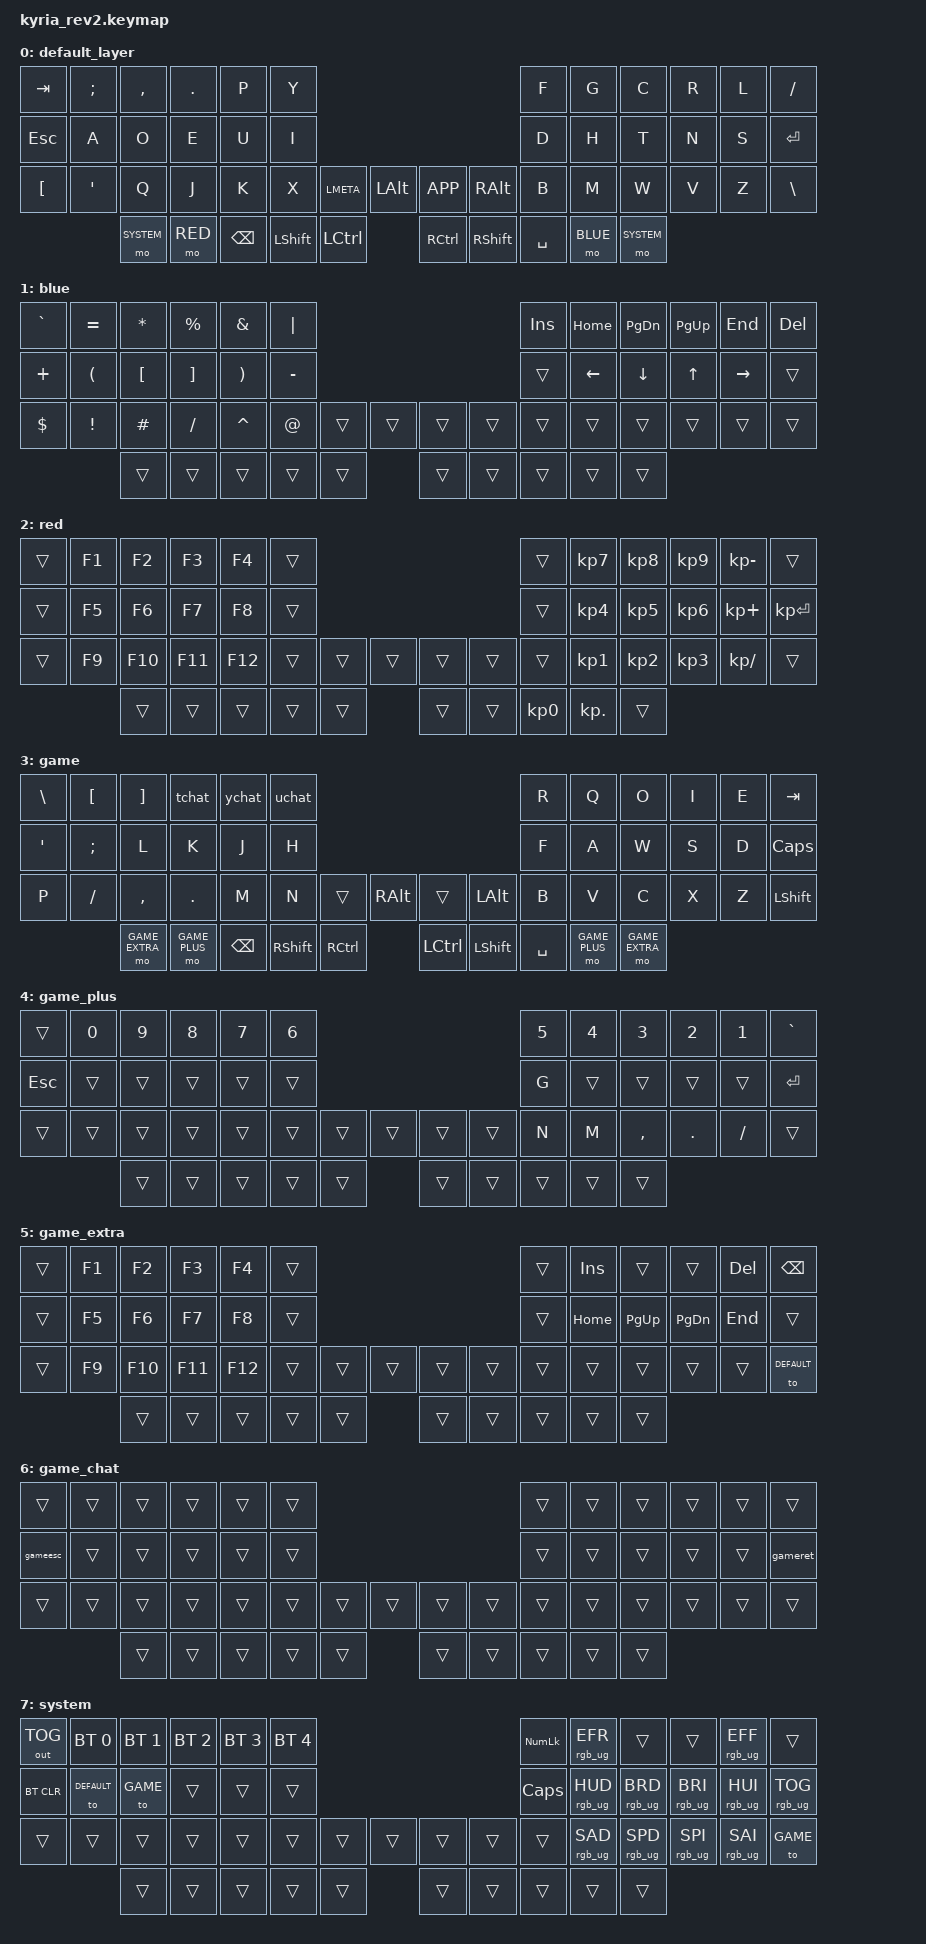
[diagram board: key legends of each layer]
/*
 * Copyright (c) 2020 The ZMK Contributors
 *
 * SPDX-License-Identifier: MIT
 */

#include <behaviors.dtsi>
#include <dt-bindings/zmk/keys.h>
#include <dt-bindings/zmk/outputs.h>
#include <dt-bindings/zmk/bt.h>
#include <dt-bindings/zmk/rgb.h>

#define DEFAULT 0
#define BLUE 1
#define RED 2
#define GAME 3
#define GAME_PLUS 4
#define GAME_EXTRA 5
#define GAME_CHAT 6
#define SYSTEM 7

/ {
	macros {
		tchat: tchat {
			label = "ZM_t_chat";
			compatible = "zmk,behavior-macro";
			#binding-cells = <0>;
			bindings = <&macro_press &to GAME_CHAT &kp T>;
		};

		ychat: ychat {
			label = "ZM_y_chat";
			compatible = "zmk,behavior-macro";
			#binding-cells = <0>;
			bindings = <&macro_press &to GAME_CHAT &kp Y>;
		};

		uchat: uchat {
			label = "ZM_u_chat";
			compatible = "zmk,behavior-macro";
			#binding-cells = <0>;
			bindings = <&macro_press &to GAME_CHAT &kp U>;
		};

		gameret: gameret {
			label = "ZM_game_ret";
			compatible = "zmk,behavior-macro";
			#binding-cells = <0>;
			bindings = <&macro_press &to GAME &kp RET>;
		};

		gameesc: gameesc {
			label = "ZM_game_esc";
			compatible = "zmk,behavior-macro";
			#binding-cells = <0>;
			bindings = <&macro_press &to GAME &kp ESC>;
		};
	};


	keymap {
		compatible = "zmk,keymap";

		default_layer {
			bindings = <
	&kp TAB  &kp SEMI &kp COMMA &kp DOT &kp P &kp Y                                                &kp F     &kp G    &kp C     &kp R &kp L &kp SLASH
	&kp ESC  &kp A    &kp O     &kp E   &kp U &kp I                                                &kp D     &kp H    &kp T     &kp N &kp S &kp RET
	&kp LBKT &kp SQT  &kp Q     &kp J   &kp K &kp X &kp LMETA &kp LALT         &kp K_APP &kp RALT   &kp B     &kp M    &kp W     &kp V &kp Z &kp BSLH
	                   &mo SYSTEM &mo RED &kp BSPC &kp LSHIFT &kp LCTRL        &kp RCTRL &kp RSHIFT &kp SPACE &mo BLUE &mo SYSTEM
			>;
		};

		blue {
			bindings = <
	&kp GRAVE  &kp EQUAL &kp STAR   &kp PERCENT &kp AMPS  &kp PIPE                                      &kp INS &kp HOME  &kp PG_DN &kp PG_UP &kp END   &kp DEL
	&kp PLUS   &kp LPAR  &kp LBKT   &kp RBKT    &kp RPAR  &kp MINUS                                     &trans  &kp LEFT  &kp DOWN  &kp UP    &kp RIGHT &trans
	&kp DOLLAR &kp EXCL  &kp HASH   &kp FSLH    &kp CARET &kp AT   &trans &trans          &trans &trans &trans  &trans    &trans    &trans    &trans    &trans
	                                   &trans   &trans    &trans   &trans &trans          &trans &trans &trans  &trans    &trans
			>;
		};

		red {
			bindings = <
	&trans &kp F1 &kp F2  &kp F3  &kp F4  &trans                                          &trans &kp KP_N7  &kp KP_N8 &kp KP_N9 &kp KP_MINUS &trans
	&trans &kp F5 &kp F6  &kp F7  &kp F8  &trans                                          &trans &kp KP_N4  &kp KP_N5 &kp KP_N6 &kp KP_PLUS  &kp KP_ENTER
	&trans &kp F9 &kp F10 &kp F11 &kp F12 &trans &trans &trans              &trans &trans &trans &kp KP_N1  &kp KP_N2 &kp KP_N3 &kp KP_SLASH &trans
	                      &trans  &trans  &trans &trans &trans              &trans &trans &kp KP_N0 &kp KP_DOT &trans
			>;
		};

		game {
			bindings = <
	&kp BSLH &kp LBKT &kp RBKT  &tchat  &ychat &uchat                                          &kp R  &kp Q  &kp O  &kp I  &kp E &kp TAB
	&kp SQT  &kp SEMI &kp L     &kp K   &kp J  &kp H                                           &kp F  &kp A  &kp W  &kp S  &kp D &kp CAPS
	&kp P    &kp FSLH &kp COMMA &kp DOT &kp M  &kp N  &trans     &kp RALT     &trans &kp LALT  &kp B  &kp V  &kp C  &kp X  &kp Z &kp LSHFT
	           &mo GAME_EXTRA &mo GAME_PLUS &kp BSPC &kp RSHIFT &kp RCTRL    &kp LCTRL &kp LSHFT &kp SPACE &mo GAME_PLUS &mo GAME_EXTRA
			>;
		};

		game_plus {
			bindings = <
	&trans  &kp N0 &kp N9 &kp N8 &kp N7 &kp N6                                    &kp N5 &kp N4 &kp N3    &kp N2  &kp N1   &kp GRAVE
	&kp ESC &trans &trans &trans &trans &trans                                    &kp G  &trans &trans    &trans  &trans   &kp ENTER
	&trans  &trans &trans &trans &trans &trans &trans &trans        &trans &trans &kp N  &kp M  &kp COMMA &kp DOT &kp FSLH &trans
	                     &trans &trans &trans &trans &trans        &trans &trans &trans &trans &trans
			>;
		};

		game_extra {
			bindings = <
	&trans &kp F1 &kp F2  &kp F3  &kp F4  &trans                                    &trans &kp INS  &trans    &trans    &kp DEL  &kp BSPC
	&trans &kp F5 &kp F6  &kp F7  &kp F8  &trans                                    &trans &kp HOME &kp PG_UP &kp PG_DN &kp END &trans
	&trans &kp F9 &kp F10 &kp F11 &kp F12 &trans &trans &trans        &trans &trans &trans &trans   &trans    &trans    &trans  &to DEFAULT
	                        &trans &trans &trans &trans &trans        &trans &trans &trans &trans &trans
			>;
		};

		game_chat {
			bindings = <
	&trans   &trans &trans &trans &trans &trans                                    &trans &trans &trans &trans &trans &trans
	&gameesc &trans &trans &trans &trans &trans                                    &trans &trans &trans &trans &trans &gameret
	&trans   &trans &trans &trans &trans &trans &trans &trans        &trans &trans &trans &trans &trans &trans &trans &trans
	                       &trans &trans &trans &trans &trans        &trans &trans &trans &trans &trans
			>;
		};

		system {
			bindings = <
	&out OUT_TOG &bt BT_SEL 0 &bt BT_SEL 1 &bt BT_SEL 2 &bt BT_SEL 3 &bt BT_SEL 4                                    &kp KP_NLCK  &rgb_ug RGB_EFR  &trans          &trans          &rgb_ug RGB_EFF &trans
	&bt BT_CLR   &to DEFAULT  &to GAME     &trans       &trans       &trans                                          &kp CAPS     &rgb_ug RGB_HUD  &rgb_ug RGB_BRD &rgb_ug RGB_BRI &rgb_ug RGB_HUI &rgb_ug RGB_TOG
	&trans       &trans       &trans       &trans       &trans       &trans       &trans &trans        &trans &trans &trans       &rgb_ug RGB_SAD  &rgb_ug RGB_SPD &rgb_ug RGB_SPI &rgb_ug RGB_SAI &to GAME
	                                       &trans       &trans       &trans       &trans &trans        &trans &trans &trans       &trans &trans
			>;
		};
	};

	/*
		layer_name {
			bindings = <
	&trans &trans &trans &trans &trans &trans                                    &trans &trans &trans &trans &trans &trans
	&trans &trans &trans &trans &trans &trans                                    &trans &trans &trans &trans &trans &trans
	&trans &trans &trans &trans &trans &trans &trans &trans        &trans &trans &trans &trans &trans &trans &trans &trans
	                     &trans &trans &trans &trans &trans        &trans &trans &trans &trans &trans
			>;
		};

	*/
};
